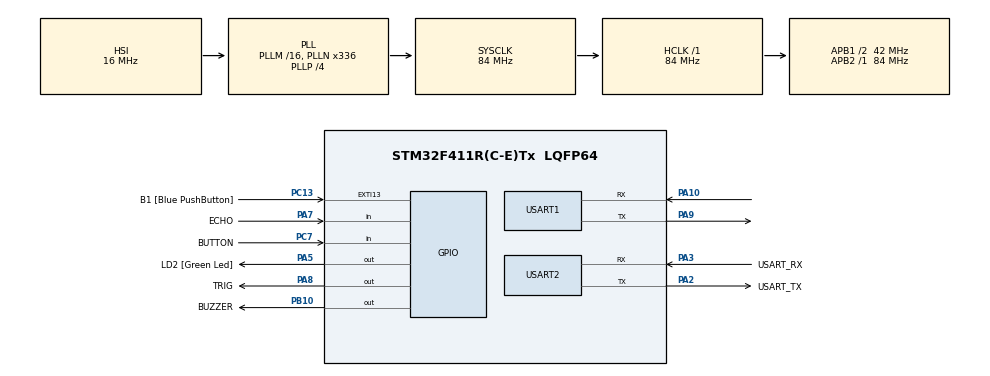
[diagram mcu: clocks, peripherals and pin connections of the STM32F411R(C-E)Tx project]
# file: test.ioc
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Mcu.Family=STM32F4
Mcu.Name=STM32F411R(C-E)Tx
Mcu.Package=LQFP64
NVIC.PriorityGroup=NVIC_PRIORITYGROUP_0
NVIC.USART1_IRQn=true\:0\:0\:false\:false\:true\:true\:true\:true
PA10.Mode=Asynchronous
PA10.Signal=USART1_RX
PA13.GPIO_Label=TMS
PA13.Mode=Serial_Wire
PA13.Signal=SYS_JTMS-SWDIO
PA14.GPIO_Label=TCK
PA14.Mode=Serial_Wire
PA14.Signal=SYS_JTCK-SWCLK
PA2.GPIO_Label=USART_TX
PA2.Mode=Asynchronous
PA2.Signal=USART2_TX
PA3.GPIO_Label=USART_RX
PA3.Mode=Asynchronous
PA3.Signal=USART2_RX
PA5.GPIO_Label=LD2 [Green Led]
PA5.Signal=GPIO_Output
PA7.GPIO_Label=ECHO
PA7.Signal=GPIO_Input
PA8.GPIO_Label=TRIG
PA8.Signal=GPIO_Output
PA9.Mode=Asynchronous
PA9.Signal=USART1_TX
PB10.GPIO_Label=BUZZER
PB10.Signal=GPIO_Output
PB3.GPIO_Label=SWO
PB3.Signal=SYS_JTDO-SWO
PC13-ANTI_TAMP.GPIO_Label=B1 [Blue PushButton]
PC13-ANTI_TAMP.GPIO_ModeDefaultEXTI=GPIO_MODE_IT_FALLING
PC13-ANTI_TAMP.Signal=GPXTI13
PC14-OSC32_IN.Mode=LSE-External-Oscillator
PC14-OSC32_IN.Signal=RCC_OSC32_IN
PC15-OSC32_OUT.Mode=LSE-External-Oscillator
PC15-OSC32_OUT.Signal=RCC_OSC32_OUT
PC7.GPIO_Label=BUTTON
PC7.GPIO_PuPd=GPIO_PULLUP
PC7.Signal=GPIO_Input
PH0\ -\ OSC_IN.Mode=HSE-External-Clock-Source
PH0\ -\ OSC_IN.Signal=RCC_OSC_IN
PH1\ -\ OSC_OUT.Mode=HSE-External-Clock-Source
PH1\ -\ OSC_OUT.Signal=RCC_OSC_OUT
ProjectManager.HeapSize=0x200
ProjectManager.StackSize=0x400
ProjectManager.TargetToolchain=STM32CubeIDE
RCC.48MHZClocksFreq_Value=84000000
RCC.AHBFreq_Value=84000000
RCC.APB1CLKDivider=RCC_HCLK_DIV2
RCC.APB1Freq_Value=42000000
RCC.APB1TimFreq_Value=84000000
RCC.APB2Freq_Value=84000000
RCC.APB2TimFreq_Value=84000000
RCC.CortexFreq_Value=84000000
RCC.FLatency-AdvancedSettings=FLASH_LATENCY_2
RCC.HCLKFreq_Value=84000000
RCC.HSE_VALUE=8000000
RCC.HSI_VALUE=16000000
RCC.PLLN=336
RCC.PLLP=RCC_PLLP_DIV4
RCC.SYSCLKFreq_VALUE=84000000
RCC.SYSCLKSource=RCC_SYSCLKSOURCE_PLLCLK
RCC.VCOOutputFreq_Value=336000000
TIM1.Prescaler=83
USART1.VirtualMode=VM_ASYNC
USART2.VirtualMode=VM_ASYNC
VP_TIM1_VS_ClockSourceINT.Mode=Internal
board=NUCLEO-F411RE

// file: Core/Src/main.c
/* USER CODE BEGIN Header */
/**
  ******************************************************************************
  * @file           : main.c
  * @brief          : Main program body
  ******************************************************************************
  * @attention
  *
  * Copyright (c) 2025 STMicroelectronics.
  * All rights reserved.
  *
  * This software is licensed under terms that can be found in the LICENSE file
  * in the root directory of this software component.
  * If no LICENSE file comes with this software, it is provided AS-IS.
  *
  ******************************************************************************
  */
/* USER CODE END Header */
#include "main.h"

TIM_HandleTypeDef htim1;

UART_HandleTypeDef huart1;
UART_HandleTypeDef huart2;

/* USER CODE BEGIN PV */
uint32_t pMillis;
uint32_t val1 = 0;
uint32_t val2 = 0;
uint16_t distance = 0;
char uartBuf[50];
uint8_t rxByte;
volatile uint8_t isAlarmOn = 0;
uint8_t lastBtnState = 1;
/* USER CODE END PV */

void SystemClock_Config(void);
static void MX_GPIO_Init(void);
static void MX_USART2_UART_Init(void);
static void MX_TIM1_Init(void);
static void MX_USART1_UART_Init(void);

int main(void)
{

  /* MCU Configuration--------------------------------------------------------*/

  /* Reset of all peripherals, Initializes the Flash interface and the Systick. */
  HAL_Init();

  /* Configure the system clock */
  SystemClock_Config();

  /* Initialize all configured peripherals */
  MX_GPIO_Init();
  MX_USART2_UART_Init();
  MX_TIM1_Init();
  MX_USART1_UART_Init();
  /* USER CODE BEGIN 2 */
  HAL_TIM_Base_Start(&htim1); // เริ่มต้น Timer
  HAL_UART_Receive_IT(&huart1, &rxByte, 1);
  /* USER CODE END 2 */

  /* Infinite loop */
  /* USER CODE BEGIN WHILE */
  while (1)
  {
	  if (isAlarmOn == 1) {
		  beep(100);
	  } else {
		  // ถ้านั่งตรง ให้เงียบ
		  HAL_GPIO_WritePin(BUZZER_GPIO_Port, BUZZER_Pin, GPIO_PIN_RESET);
	  }
	  // send Trigger (High 10us)
	  HAL_GPIO_WritePin(TRIG_GPIO_Port, TRIG_Pin, GPIO_PIN_RESET);
	  delay_us(3);
	  HAL_GPIO_WritePin(TRIG_GPIO_Port, TRIG_Pin, GPIO_PIN_SET);
	  delay_us(10);
	  HAL_GPIO_WritePin(TRIG_GPIO_Port, TRIG_Pin, GPIO_PIN_RESET);

	  // wait for echo
	  while (HAL_GPIO_ReadPin(ECHO_GPIO_Port, ECHO_Pin) == GPIO_PIN_RESET);
	  val1 = __HAL_TIM_GET_COUNTER(&htim1);

	  while (HAL_GPIO_ReadPin(ECHO_GPIO_Port, ECHO_Pin) == GPIO_PIN_SET);
	  val2 = __HAL_TIM_GET_COUNTER(&htim1);

	  distance = (val2 - val1) * 0.034 / 2;

	  // read button pin
	  int btnState = HAL_GPIO_ReadPin(BUTTON_GPIO_Port, BUTTON_Pin);
	 //noti when reset
	  // เช็คจังหวะ "เริ่มกด" (เปลี่ยนจาก 1 เป็น 0)
	  if (btnState == 0 && lastBtnState == 1)
	  {
		// Step 1: นับถอยหลัง 3 วินาที (ติ๊ด...ติ๊ด...ติ๊ด...)
		for(int i=0; i<3; i++) {
		beep(200);      // ติ๊ด (ยาวหน่อย 200ms)
		HAL_Delay(800); // เว้นวรรค (รวมกับเสียงจะเป็น 1 วินาทีพอดี)
	 }
	// Step 2: เสียงยืนยัน Reset (ติ๊ด-ติ๊ด)
	  beep(100);       // ติ๊ดที่ 1 (สั้นๆ)
	  HAL_Delay(100);  // เว้นวรรคเร็วๆ
	  beep(100);       // ติ๊ดที่ 2
	  }
	  lastBtnState = btnState;

	  memset(uartBuf, 0, sizeof(uartBuf)); // เคลียร์ Buffer ก่อน
	  sprintf(uartBuf, "{\"d\":%d,\"b\":%d}\r\n", distance, btnState);

	  HAL_UART_Transmit(&huart1, (uint8_t*)uartBuf, strlen(uartBuf), 100); //to esp 32
	  HAL_UART_Transmit(&huart2, (uint8_t*)uartBuf, strlen(uartBuf), 100); // to debug putty

	  // หน่วงเวลา (ปรับตามความเหมาะสม ไม่ควรเร็วกว่า 60ms สำหรับ HC-SR04)
	  HAL_Delay(500);
    /* USER CODE END WHILE */

  }
}

void SystemClock_Config(void)
{
  RCC_OscInitTypeDef RCC_OscInitStruct = {0};
  RCC_ClkInitTypeDef RCC_ClkInitStruct = {0};

  /** Configure the main internal regulator output voltage
  */
  __HAL_RCC_PWR_CLK_ENABLE();
  __HAL_PWR_VOLTAGESCALING_CONFIG(PWR_REGULATOR_VOLTAGE_SCALE1);

  /** Initializes the RCC Oscillators according to the specified parameters
  * in the RCC_OscInitTypeDef structure.
  */
  RCC_OscInitStruct.OscillatorType = RCC_OSCILLATORTYPE_HSI;
  RCC_OscInitStruct.HSIState = RCC_HSI_ON;
  RCC_OscInitStruct.HSICalibrationValue = RCC_HSICALIBRATION_DEFAULT;
  RCC_OscInitStruct.PLL.PLLState = RCC_PLL_ON;
  RCC_OscInitStruct.PLL.PLLSource = RCC_PLLSOURCE_HSI;
  RCC_OscInitStruct.PLL.PLLM = 16;
  RCC_OscInitStruct.PLL.PLLN = 336;
  RCC_OscInitStruct.PLL.PLLP = RCC_PLLP_DIV4;
  RCC_OscInitStruct.PLL.PLLQ = 4;
  if (HAL_RCC_OscConfig(&RCC_OscInitStruct) != HAL_OK)
  {
    Error_Handler();
  }

  /** Initializes the CPU, AHB and APB buses clocks
  */
  RCC_ClkInitStruct.ClockType = RCC_CLOCKTYPE_HCLK|RCC_CLOCKTYPE_SYSCLK
                              |RCC_CLOCKTYPE_PCLK1|RCC_CLOCKTYPE_PCLK2;
  RCC_ClkInitStruct.SYSCLKSource = RCC_SYSCLKSOURCE_PLLCLK;
  RCC_ClkInitStruct.AHBCLKDivider = RCC_SYSCLK_DIV1;
  RCC_ClkInitStruct.APB1CLKDivider = RCC_HCLK_DIV2;
  RCC_ClkInitStruct.APB2CLKDivider = RCC_HCLK_DIV1;

  if (HAL_RCC_ClockConfig(&RCC_ClkInitStruct, FLASH_LATENCY_2) != HAL_OK)
  {
    Error_Handler();
  }
}

static void MX_TIM1_Init(void)
{

  TIM_ClockConfigTypeDef sClockSourceConfig = {0};
  TIM_MasterConfigTypeDef sMasterConfig = {0};

  htim1.Instance = TIM1;
  htim1.Init.Prescaler = 83;
  htim1.Init.CounterMode = TIM_COUNTERMODE_UP;
  htim1.Init.Period = 65535;
  htim1.Init.ClockDivision = TIM_CLOCKDIVISION_DIV1;
  htim1.Init.RepetitionCounter = 0;
  htim1.Init.AutoReloadPreload = TIM_AUTORELOAD_PRELOAD_DISABLE;
  if (HAL_TIM_Base_Init(&htim1) != HAL_OK)
  {
    Error_Handler();
  }
  sClockSourceConfig.ClockSource = TIM_CLOCKSOURCE_INTERNAL;
  if (HAL_TIM_ConfigClockSource(&htim1, &sClockSourceConfig) != HAL_OK)
  {
    Error_Handler();
  }
  sMasterConfig.MasterOutputTrigger = TIM_TRGO_RESET;
  sMasterConfig.MasterSlaveMode = TIM_MASTERSLAVEMODE_DISABLE;
  if (HAL_TIMEx_MasterConfigSynchronization(&htim1, &sMasterConfig) != HAL_OK)
  {
    Error_Handler();
  }

}

static void MX_USART1_UART_Init(void)
{

  huart1.Instance = USART1;
  huart1.Init.BaudRate = 115200;
  huart1.Init.WordLength = UART_WORDLENGTH_8B;
  huart1.Init.StopBits = UART_STOPBITS_1;
  huart1.Init.Parity = UART_PARITY_NONE;
  huart1.Init.Mode = UART_MODE_TX_RX;
  huart1.Init.HwFlowCtl = UART_HWCONTROL_NONE;
  huart1.Init.OverSampling = UART_OVERSAMPLING_16;
  if (HAL_UART_Init(&huart1) != HAL_OK)
  {
    Error_Handler();
  }

}

static void MX_USART2_UART_Init(void)
{

  huart2.Instance = USART2;
  huart2.Init.BaudRate = 115200;
  huart2.Init.WordLength = UART_WORDLENGTH_8B;
  huart2.Init.StopBits = UART_STOPBITS_1;
  huart2.Init.Parity = UART_PARITY_NONE;
  huart2.Init.Mode = UART_MODE_TX_RX;
  huart2.Init.HwFlowCtl = UART_HWCONTROL_NONE;
  huart2.Init.OverSampling = UART_OVERSAMPLING_16;
  if (HAL_UART_Init(&huart2) != HAL_OK)
  {
    Error_Handler();
  }

}

static void MX_GPIO_Init(void)
{
  GPIO_InitTypeDef GPIO_InitStruct = {0};

  /* GPIO Ports Clock Enable */
  __HAL_RCC_GPIOC_CLK_ENABLE();
  __HAL_RCC_GPIOH_CLK_ENABLE();
  __HAL_RCC_GPIOA_CLK_ENABLE();
  __HAL_RCC_GPIOB_CLK_ENABLE();

  /*Configure GPIO pin Output Level */
  HAL_GPIO_WritePin(GPIOA, LD2_Pin|TRIG_Pin, GPIO_PIN_RESET);

  /*Configure GPIO pin Output Level */
  HAL_GPIO_WritePin(BUZZER_GPIO_Port, BUZZER_Pin, GPIO_PIN_RESET);

  /*Configure GPIO pin : B1_Pin */
  GPIO_InitStruct.Pin = B1_Pin;
  GPIO_InitStruct.Mode = GPIO_MODE_IT_FALLING;
  GPIO_InitStruct.Pull = GPIO_NOPULL;
  HAL_GPIO_Init(B1_GPIO_Port, &GPIO_InitStruct);

  /*Configure GPIO pins : LD2_Pin TRIG_Pin */
  GPIO_InitStruct.Pin = LD2_Pin|TRIG_Pin;
  GPIO_InitStruct.Mode = GPIO_MODE_OUTPUT_PP;
  GPIO_InitStruct.Pull = GPIO_NOPULL;
  GPIO_InitStruct.Speed = GPIO_SPEED_FREQ_LOW;
  HAL_GPIO_Init(GPIOA, &GPIO_InitStruct);

  /*Configure GPIO pin : ECHO_Pin */
  GPIO_InitStruct.Pin = ECHO_Pin;
  GPIO_InitStruct.Mode = GPIO_MODE_INPUT;
  GPIO_InitStruct.Pull = GPIO_NOPULL;
  HAL_GPIO_Init(ECHO_GPIO_Port, &GPIO_InitStruct);

  /*Configure GPIO pin : BUZZER_Pin */
  GPIO_InitStruct.Pin = BUZZER_Pin;
  GPIO_InitStruct.Mode = GPIO_MODE_OUTPUT_PP;
  GPIO_InitStruct.Pull = GPIO_NOPULL;
  GPIO_InitStruct.Speed = GPIO_SPEED_FREQ_LOW;
  HAL_GPIO_Init(BUZZER_GPIO_Port, &GPIO_InitStruct);

  /*Configure GPIO pin : BUTTON_Pin */
  GPIO_InitStruct.Pin = BUTTON_Pin;
  GPIO_InitStruct.Mode = GPIO_MODE_INPUT;
  GPIO_InitStruct.Pull = GPIO_PULLUP;
  HAL_GPIO_Init(BUTTON_GPIO_Port, &GPIO_InitStruct);

}

/* USER CODE BEGIN 4 */
void delay_us (uint16_t us)
{
	__HAL_TIM_SET_COUNTER(&htim1,0);  // รีเซ็ต Timer
	while (__HAL_TIM_GET_COUNTER(&htim1) < us);  // รอจนกว่าจะครบเวลา
}

void HAL_UART_RxCpltCallback(UART_HandleTypeDef *huart)
{
  if (huart->Instance == USART1)
  {
      char msg[20];
      sprintf(msg, "RX:%c\n", rxByte);
      HAL_UART_Transmit(&huart2, (uint8_t*)msg, strlen(msg), 100);
    if (rxByte == 'A') // ได้รับคำสั่งเปิด
    {
      isAlarmOn = 1; // จำว่าต้องเปิด
    }
    else if (rxByte == 'B') // ได้รับคำสั่งปิด
    {
      isAlarmOn = 0; // จำว่าต้องปิด
    }

    // รอรับตัวต่อไป
    HAL_UART_Receive_IT(&huart1, &rxByte, 1);

  }
}

void beep(uint16_t duration_ms) {
    uint32_t start = HAL_GetTick();
    while (HAL_GetTick() - start < duration_ms) {
        HAL_GPIO_TogglePin(BUZZER_GPIO_Port, BUZZER_Pin);
        delay_us(250); // 250us On + 250us Off = 500us (2kHz) -> เสียงจะแหลมดัง
    }
    HAL_GPIO_WritePin(BUZZER_GPIO_Port, BUZZER_Pin, GPIO_PIN_RESET);
}
/* USER CODE END 4 */

void Error_Handler(void)
{
  __disable_irq();
  while (1)
  {
  }
}
